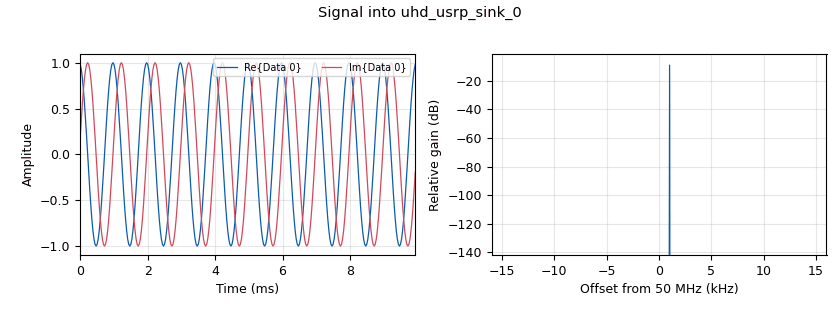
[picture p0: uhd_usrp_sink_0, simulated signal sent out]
options:
  parameters:
    author: Barrios_Linda
    copyright: Uis
    generate_options: qt_gui
    id: ConfiguracionUsrp
    output_language: python
    title: Configuracion_Usrp
  states: {}

blocks:
- name: A
  id: variable_qtgui_range
  parameters:
    label: Amplitud señal
    start: '0'
    step: '0.001'
    stop: '1'
    value: '1'
  states: {}
- name: GTX
  id: variable_qtgui_range
  parameters:
    label: Ganancia del TX
    start: '0'
    step: '1'
    stop: '30'
    value: '0'
  states: {}
- name: fc
  id: variable_qtgui_range
  parameters:
    label: frecuencia portadora
    start: '50000000'
    step: '1'
    stop: '22000000000'
    value: '50000000'
  states: {}
- name: samp_rate
  id: variable
  parameters:
    value: '32000'
  states: {}
- name: analog_sig_source_x_0
  id: analog_sig_source_x
  parameters:
    amp: A
    freq: '1000'
    offset: '0'
    phase: '0'
    samp_rate: samp_rate
    type: complex
    waveform: analog.GR_COS_WAVE
  states: {}
- name: uhd_usrp_sink_0
  id: uhd_usrp_sink
  parameters:
    ant0: '"TX/RX"'
    center_freq0: fc
    gain0: GTX
    samp_rate: samp_rate
    sync: pc_clock
    type: fc32
  states: {}

connections:
- [analog_sig_source_x_0, '0', uhd_usrp_sink_0, '0']

metadata:
  file_format: 1
